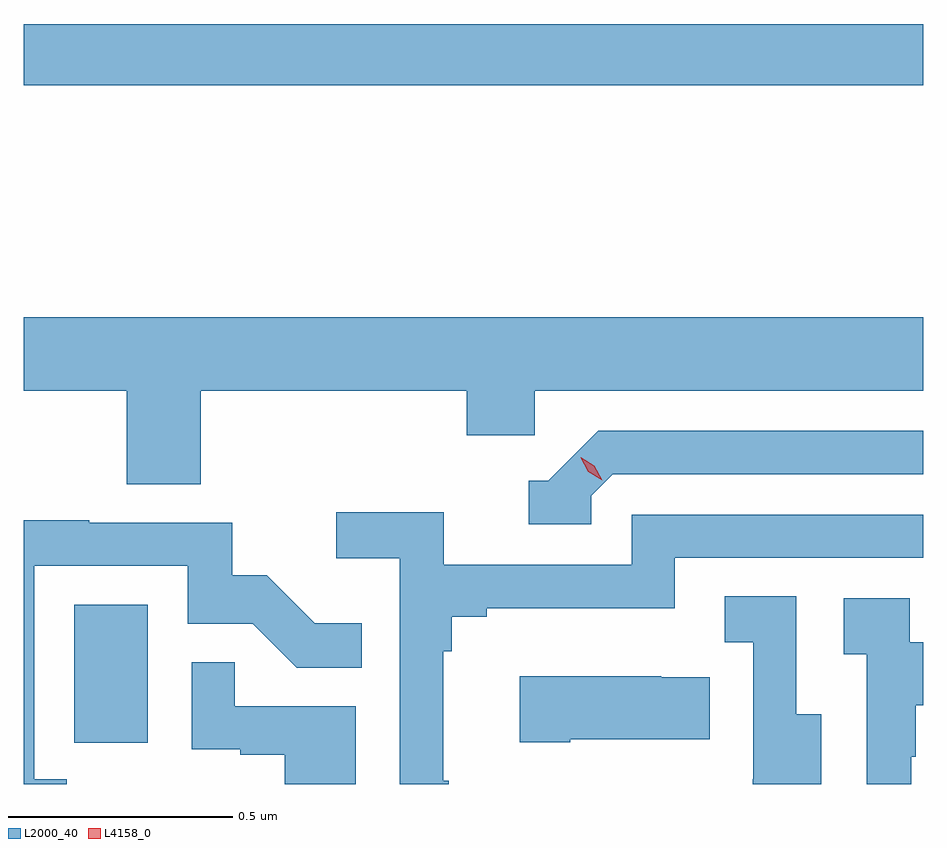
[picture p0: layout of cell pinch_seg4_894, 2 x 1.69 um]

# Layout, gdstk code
import gdstk
lib = gdstk.Library(unit=1e-6, precision=1e-09)
def R(c, l, rs):  # rectangles x0, y0, x1, y1
    for r in rs: c.add(gdstk.rectangle(r[:2], r[2:], *l))
def P(c, l, *ps):  # polygons
    for p in ps: c.add(gdstk.Polygon(p, *l))
L2000_40 = (2000, 40)
L4158_0 = (4158, 0)

pinch_seg4_894 = lib.new_cell('pinch_seg4_894')
R(pinch_seg4_894, L2000_40, [(881.714,806.694,881.878,807.001), (881.602,808.156,883.602,808.292)])
P(pinch_seg4_894, L2000_40, [(881.996,807.476),(882.587,807.476),(882.587,807.378),(882.738,807.378),(882.738,807.476),(883.602,807.476),(883.602,807.64),(881.602,807.64),(881.602,807.476),(881.831,807.476),(881.831,807.268),(881.996,807.268)],
  [(882.864,807.243),(882.912,807.291),(883.602,807.291),(883.602,807.387),(882.879,807.387),(882.768,807.276),(882.725,807.276),(882.725,807.18),(882.864,807.18)],
  [(882.547,806.609),(882.535,806.609),(882.535,806.897),(882.554,806.897),(882.554,806.974),(882.631,806.974),(882.631,806.993),(883.05,806.993),(883.05,807.105),(883.602,807.105),(883.602,807.201),(882.954,807.201),(882.954,807.09),(882.536,807.09),(882.536,807.206),(882.297,807.206),(882.297,807.104),(882.438,807.104),(882.438,806.602),(882.547,806.602)],
  [(881.698,806.613),(881.625,806.613),(881.625,807.087),(881.967,807.087),(881.967,806.958),(882.111,806.958),(882.209,806.86),(882.353,806.86),(882.353,806.959),(882.249,806.959),(882.142,807.066),(882.066,807.066),(882.066,807.183),(881.747,807.183),(881.747,807.188),(881.602,807.188),(881.602,806.602),(881.698,806.602)],
  [(883.375,806.757),(883.32,806.757),(883.32,807.02),(883.161,807.02),(883.161,806.917),(883.224,806.917),(883.224,806.613),(883.223,806.613),(883.223,806.602),(883.375,806.602)],
  [(883.575,806.663),(883.585,806.663),(883.585,806.777),(883.602,806.777),(883.602,806.917),(883.572,806.917),(883.572,807.015),(883.425,807.015),(883.425,806.891),(883.476,806.891),(883.476,806.602),(883.575,806.602)],
  [(882.34,806.775),(882.071,806.775),(882.071,806.873),(881.976,806.873),(881.976,806.679),(882.083,806.679),(882.083,806.667),(882.182,806.667),(882.182,806.602),(882.34,806.602)],
  [(882.817,806.702),(883.127,806.702),(883.127,806.839),(883.019,806.839),(883.019,806.842),(882.705,806.842),(882.705,806.695),(882.817,806.695)])
P(pinch_seg4_894, L4158_0, [(882.888,807.277),(882.857,807.296),(882.84,807.328),(882.84,807.329),(882.84,807.329),(882.871,807.31),(882.888,807.277),(882.888,807.277)])

lib.write_gds('pinch_seg4_894.gds')
